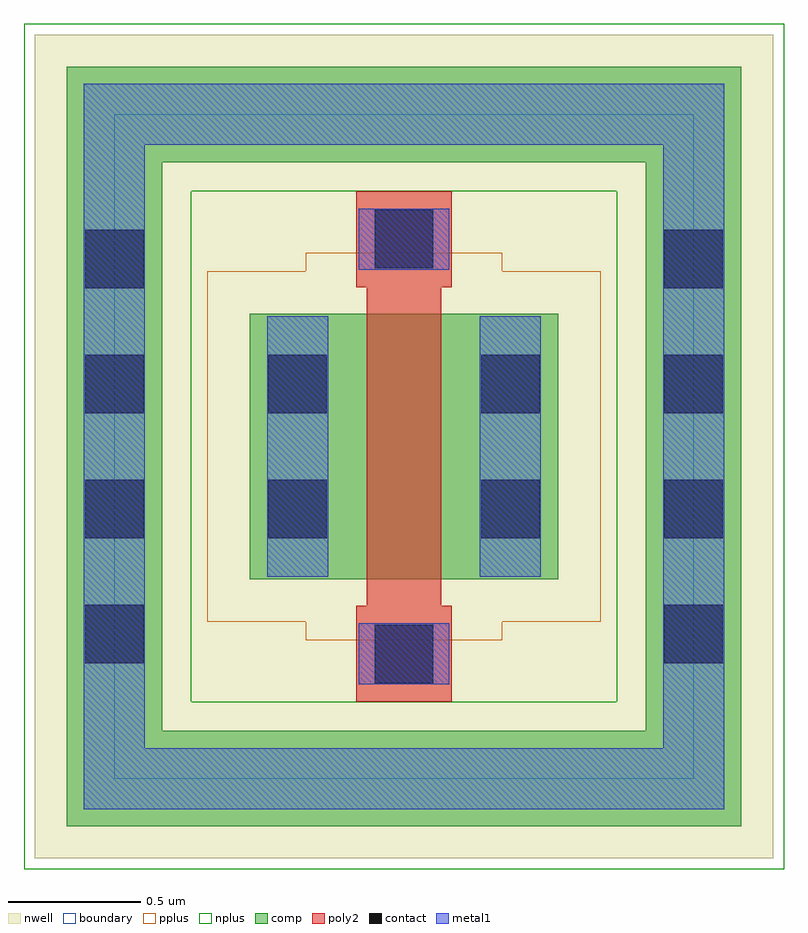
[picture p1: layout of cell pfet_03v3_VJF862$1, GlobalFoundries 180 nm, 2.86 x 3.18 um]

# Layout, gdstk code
import gdstk
lib = gdstk.Library(unit=1e-6, precision=1e-09)
def R(c, l, rs):  # rectangles x0, y0, x1, y1
    for r in rs: c.add(gdstk.rectangle(r[:2], r[2:], *l))
def A(c, l, x, y, w, h, nx, ny, dx, dy):  # array of equal rectangles
    R(c, l, [(x+i*dx, y+j*dy, x+i*dx+w, y+j*dy+h) for i in range(nx) for j in range(ny)])
boundary = (0, 0)
nwell = (21, 0)
comp = (22, 0)
poly2 = (30, 0)
pplus = (31, 0)
nplus = (32, 0)
contact = (33, 0)
metal1 = (34, 0)

pfet_03v3_vjf862_1 = lib.new_cell('pfet_03v3_VJF862$1')
R(pfet_03v3_vjf862_1, boundary, [(-1.09,-1.25,1.09,1.25)])
R(pfet_03v3_vjf862_1, nwell, [(-1.39,-1.55,1.39,1.55)])
R(pfet_03v3_vjf862_1, comp, [(-1.27,-1.43,1.27,-1.07), (-1.27,-1.07,-0.91,1.07), (0.91,-1.07,1.27,1.07), (-0.58,-0.5,0.58,0.5), (-1.27,1.07,1.27,1.43)])
R(pfet_03v3_vjf862_1, poly2, [(-0.18,-0.96,0.18,-0.6), (-0.14,-0.6,0.14,0.6), (-0.18,0.6,0.18,0.96)])
R(pfet_03v3_vjf862_1, pplus, [(-0.37,-0.73,0.37,-0.66), (-0.74,-0.66,0.74,0.66), (-0.37,0.66,0.37,0.73)])
R(pfet_03v3_vjf862_1, nplus, [(-1.43,-1.59,1.43,-0.96), (-1.43,-0.96,-0.8,0.96), (0.8,-0.96,1.43,0.96), (-1.43,0.96,1.43,1.59)])
A(pfet_03v3_vjf862_1, contact, -1.2, -0.815, 0.22, 0.22, 1, 4, 0, 0.47)
A(pfet_03v3_vjf862_1, contact, 0.98, -0.815, 0.22, 0.22, 1, 4, 0, 0.47)
R(pfet_03v3_vjf862_1, contact, [(-0.11,-0.89,0.11,-0.67), (-0.51,-0.345,-0.29,-0.125), (0.29,-0.345,0.51,-0.125), (-0.51,0.125,-0.29,0.345), (0.29,0.125,0.51,0.345), (-0.11,0.67,0.11,0.89)])
R(pfet_03v3_vjf862_1, metal1, [(-1.205,-1.365,1.205,-1.135), (-1.205,-1.135,-0.975,1.135), (0.975,-1.135,1.205,1.135), (-0.17,-0.895,0.17,-0.665), (-0.515,-0.49,-0.285,0.49), (0.285,-0.49,0.515,0.49), (-0.17,0.665,0.17,0.895), (-1.205,1.135,1.205,1.365)])

lib.write_gds('pfet_03v3_VJF862_1.gds')
